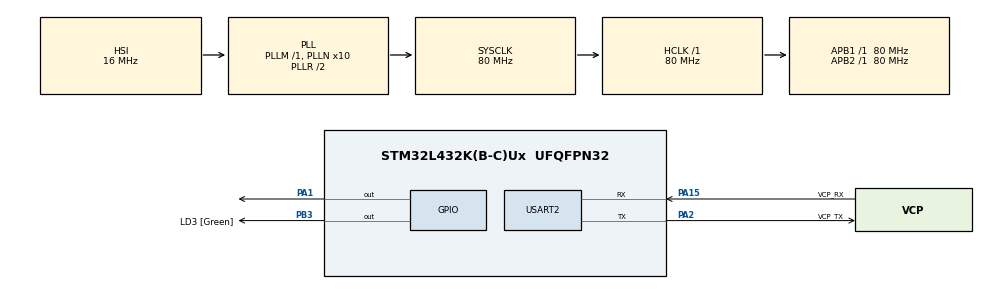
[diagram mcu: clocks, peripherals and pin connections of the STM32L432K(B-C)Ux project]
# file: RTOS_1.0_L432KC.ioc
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FREERTOS.Tasks01=defaultTask,0,128,StartDefaultTask,Default,NULL,Dynamic,NULL,NULL;Task1,0,128,Task1_init,Default,NULL,Dynamic,NULL,NULL;Task2,-1,128,Task2_init,Default,NULL,Dynamic,NULL,NULL
FREERTOS.configUSE_NEWLIB_REENTRANT=1
Mcu.Family=STM32L4
Mcu.Name=STM32L432K(B-C)Ux
Mcu.Package=UFQFPN32
NVIC.PriorityGroup=NVIC_PRIORITYGROUP_4
NVIC.TIM6_DAC_IRQn=true\:15\:0\:false\:false\:true\:false\:false\:true\:true
NVIC.TimeBase=TIM6_DAC_IRQn
NVIC.TimeBaseIP=TIM6
PA0.GPIO_Label=MCO [High speed clock in]
PA0.Signal=RCC_CK_IN
PA1.Signal=GPIO_Output
PA13\ (JTMS-SWDIO).GPIO_Label=SWDIO
PA13\ (JTMS-SWDIO).Signal=SYS_JTMS-SWDIO
PA14\ (JTCK-SWCLK).GPIO_Label=SWCLK
PA14\ (JTCK-SWCLK).Signal=SYS_JTCK-SWCLK
PA15\ (JTDI).GPIO_Label=VCP_RX
PA15\ (JTDI).Mode=Asynchronous
PA15\ (JTDI).Signal=USART2_RX
PA2.GPIO_Label=VCP_TX
PA2.Mode=Asynchronous
PA2.Signal=USART2_TX
PB3\ (JTDO-TRACESWO).GPIO_Label=LD3 [Green]
PB3\ (JTDO-TRACESWO).Signal=GPIO_Output
PC14-OSC32_IN\ (PC14).Signal=RCC_OSC32_IN
PC15-OSC32_OUT\ (PC15).Signal=RCC_OSC32_OUT
ProjectManager.HeapSize=0x200
ProjectManager.StackSize=0x400
ProjectManager.TargetToolchain=STM32CubeIDE
RCC.ADCFreq_Value=64000000
RCC.AHBFreq_Value=80000000
RCC.APB1Freq_Value=80000000
RCC.APB1TimFreq_Value=80000000
RCC.APB2Freq_Value=80000000
RCC.APB2TimFreq_Value=80000000
RCC.CortexFreq_Value=80000000
RCC.HCLKFreq_Value=80000000
RCC.HSE_VALUE=8000000
RCC.HSI16_VALUE=16000000
RCC.HSI48_VALUE=48000000
RCC.HSI_VALUE=16000000
RCC.LSE_VALUE=32768
RCC.MSI_VALUE=4000000
RCC.PLLMUL=RCC_PLLMUL_4
RCC.PLLN=10
RCC.PLLSourceVirtual=RCC_PLLSOURCE_HSI
RCC.SYSCLKFreq_VALUE=80000000
RCC.SYSCLKSource=RCC_SYSCLKSOURCE_PLLCLK
RCC.USBFreq_Value=64000000
RCC.VCOOutputFreq_Value=160000000
USART2.VirtualMode-Asynchronous=VM_ASYNC
VP_FREERTOS_VS_CMSIS_V1.Mode=CMSIS_V1
VP_SYS_VS_tim6.Mode=TIM6
board=NUCLEO-L432KC

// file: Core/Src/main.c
/* USER CODE BEGIN Header */
/**
 ******************************************************************************
 * @file           : main.c
 * @brief          : Main program body
 ******************************************************************************
 * @attention
 *
 * Copyright (c) 2024 STMicroelectronics.
 * All rights reserved.
 *
 * This software is licensed under terms that can be found in the LICENSE file
 * in the root directory of this software component.
 * If no LICENSE file comes with this software, it is provided AS-IS.
 *
 ******************************************************************************
 */
/* USER CODE END Header */
#include "main.h"
#include "cmsis_os.h"

/* USER CODE BEGIN Includes */
#include <string.h> //https://www.tutorialspoint.com/c_standard_library/string_h.htm
#include <stdio.h> //https://www.tutorialspoint.com/c_standard_library/stdio_h.htm
/* USER CODE END Includes */

/* USER CODE BEGIN PD */
#define PORTA GPIOA //port for A1
#define PORTB GPIOB //port for on-board green LED
#define LED_Red  GPIO_PIN_1 //pin A1 on board
#define LED_Green  GPIO_PIN_3 //pin for on-board green LED

/* USER CODE END PD */

UART_HandleTypeDef huart2;

osThreadId defaultTaskHandle;
osThreadId Task1Handle;
osThreadId Task2Handle;
/* USER CODE BEGIN PV */
uint32_t number = 0; // Example numeric data.  This is an unsigned integer type with exactly 32 bits. It can hold values ranging from 0 to 2^32 - 1.
/* USER CODE END PV */

void SystemClock_Config(void);
static void MX_GPIO_Init(void);
static void MX_USART2_UART_Init(void);
void StartDefaultTask(void const * argument);
void Task1_init(void const * argument);
void Task2_init(void const * argument);

/* USER CODE BEGIN 0 */
void send_Task1(void) {
//this is a user created function to transmit various data via UART2.
//For more info see: https://www.youtube.com/watch?v=muOL9SH0p9g&list=PLHKFc6z2OwJGDfYYkfi9POKa7SXEPs6Yn&index=3

	/*The standard method to transmit a text string via a UART is the following, but a NULL character is always added automatically
	 uint8_t data[] = "Hello from DEFTASK";
	 HAL_UART_Transmit(&huart2, data, sizeof(data), 500);

	 Another method to prevent the string literal from ending with a null character is by using a pointer to uint8_t instead of an array.
	 You can initialize the pointer to point to the string literal directly. Here's how you can do it:

	 In this method:

	 The uint8_t *data pointer is initialised directly to the string literal "Hello from DEFTASK\r\n".
	 strlen((const char *)data) is used to determine the length of the string, excluding the null terminator, and this length is passed to HAL_UART_Transmit.
	 This method avoids the need to explicitly specify the size of an array and ensures that only the characters of the string literal are transmitted without the null terminator.
	 */

	const uint8_t *data = (const uint8_t*) "Hello from Task1\r\n";
	HAL_UART_Transmit(&huart2, data, strlen((const char*) data), 500);

	//The following code transmits the value of the variable number via the UART
	char buffer[20]; // buffer is an array of characters to hold the string representation of the number
	sprintf(buffer, "%lu\r\n", number); // Convert number to string and stores in the array called buffer
	HAL_UART_Transmit(&huart2, (uint8_t*) buffer, strlen(buffer),
	HAL_MAX_DELAY); // Transmit the string via UART
}
/* USER CODE END 0 */

int main(void)
{

  /* USER CODE BEGIN 1 */
	/* This project is an example of using FreeRTOS and creates two tasks i.e. Default & Task2
	 * Default task flashes a red LED on pin A1, transmits data via UART2 using the function send_deftask() and also increments a variable i.e. number
	 * Task2 flashes the on-board green LED
	 */
  /* USER CODE END 1 */

  /* MCU Configuration--------------------------------------------------------*/

  /* Reset of all peripherals, Initializes the Flash interface and the Systick. */
  HAL_Init();

  /* Configure the system clock */
  SystemClock_Config();

  /* Initialize all configured peripherals */
  MX_GPIO_Init();
  MX_USART2_UART_Init();

  /* Create the thread(s) */
  /* definition and creation of defaultTask */
  osThreadDef(defaultTask, StartDefaultTask, osPriorityNormal, 0, 128);
  defaultTaskHandle = osThreadCreate(osThread(defaultTask), NULL);

  /* definition and creation of Task1 */
  osThreadDef(Task1, Task1_init, osPriorityNormal, 0, 128);
  Task1Handle = osThreadCreate(osThread(Task1), NULL);

  /* definition and creation of Task2 */
  osThreadDef(Task2, Task2_init, osPriorityBelowNormal, 0, 128);
  Task2Handle = osThreadCreate(osThread(Task2), NULL);

  /* Start scheduler */
  osKernelStart();

  /* We should never get here as control is now taken by the scheduler */

  /* Infinite loop */
	while (1) {

	}
}

void SystemClock_Config(void)
{
  RCC_OscInitTypeDef RCC_OscInitStruct = {0};
  RCC_ClkInitTypeDef RCC_ClkInitStruct = {0};

  /** Configure the main internal regulator output voltage
  */
  if (HAL_PWREx_ControlVoltageScaling(PWR_REGULATOR_VOLTAGE_SCALE1) != HAL_OK)
  {
    Error_Handler();
  }

  /** Initializes the RCC Oscillators according to the specified parameters
  * in the RCC_OscInitTypeDef structure.
  */
  RCC_OscInitStruct.OscillatorType = RCC_OSCILLATORTYPE_HSI;
  RCC_OscInitStruct.HSIState = RCC_HSI_ON;
  RCC_OscInitStruct.HSICalibrationValue = RCC_HSICALIBRATION_DEFAULT;
  RCC_OscInitStruct.PLL.PLLState = RCC_PLL_ON;
  RCC_OscInitStruct.PLL.PLLSource = RCC_PLLSOURCE_HSI;
  RCC_OscInitStruct.PLL.PLLM = 1;
  RCC_OscInitStruct.PLL.PLLN = 10;
  RCC_OscInitStruct.PLL.PLLP = RCC_PLLP_DIV7;
  RCC_OscInitStruct.PLL.PLLQ = RCC_PLLQ_DIV2;
  RCC_OscInitStruct.PLL.PLLR = RCC_PLLR_DIV2;
  if (HAL_RCC_OscConfig(&RCC_OscInitStruct) != HAL_OK)
  {
    Error_Handler();
  }

  /** Initializes the CPU, AHB and APB buses clocks
  */
  RCC_ClkInitStruct.ClockType = RCC_CLOCKTYPE_HCLK|RCC_CLOCKTYPE_SYSCLK
                              |RCC_CLOCKTYPE_PCLK1|RCC_CLOCKTYPE_PCLK2;
  RCC_ClkInitStruct.SYSCLKSource = RCC_SYSCLKSOURCE_PLLCLK;
  RCC_ClkInitStruct.AHBCLKDivider = RCC_SYSCLK_DIV1;
  RCC_ClkInitStruct.APB1CLKDivider = RCC_HCLK_DIV1;
  RCC_ClkInitStruct.APB2CLKDivider = RCC_HCLK_DIV1;

  if (HAL_RCC_ClockConfig(&RCC_ClkInitStruct, FLASH_LATENCY_4) != HAL_OK)
  {
    Error_Handler();
  }
}

static void MX_USART2_UART_Init(void)
{

  huart2.Instance = USART2;
  huart2.Init.BaudRate = 115200;
  huart2.Init.WordLength = UART_WORDLENGTH_8B;
  huart2.Init.StopBits = UART_STOPBITS_1;
  huart2.Init.Parity = UART_PARITY_NONE;
  huart2.Init.Mode = UART_MODE_TX_RX;
  huart2.Init.HwFlowCtl = UART_HWCONTROL_NONE;
  huart2.Init.OverSampling = UART_OVERSAMPLING_16;
  huart2.Init.OneBitSampling = UART_ONE_BIT_SAMPLE_DISABLE;
  huart2.AdvancedInit.AdvFeatureInit = UART_ADVFEATURE_NO_INIT;
  if (HAL_UART_Init(&huart2) != HAL_OK)
  {
    Error_Handler();
  }

}

static void MX_GPIO_Init(void)
{
  GPIO_InitTypeDef GPIO_InitStruct = {0};

  /* GPIO Ports Clock Enable */
  __HAL_RCC_GPIOC_CLK_ENABLE();
  __HAL_RCC_GPIOA_CLK_ENABLE();
  __HAL_RCC_GPIOB_CLK_ENABLE();

  /*Configure GPIO pin Output Level */
  HAL_GPIO_WritePin(GPIOA, GPIO_PIN_1, GPIO_PIN_RESET);

  /*Configure GPIO pin Output Level */
  HAL_GPIO_WritePin(LD3_GPIO_Port, LD3_Pin, GPIO_PIN_RESET);

  /*Configure GPIO pin : PA1 */
  GPIO_InitStruct.Pin = GPIO_PIN_1;
  GPIO_InitStruct.Mode = GPIO_MODE_OUTPUT_PP;
  GPIO_InitStruct.Pull = GPIO_NOPULL;
  GPIO_InitStruct.Speed = GPIO_SPEED_FREQ_LOW;
  HAL_GPIO_Init(GPIOA, &GPIO_InitStruct);

  /*Configure GPIO pin : LD3_Pin */
  GPIO_InitStruct.Pin = LD3_Pin;
  GPIO_InitStruct.Mode = GPIO_MODE_OUTPUT_PP;
  GPIO_InitStruct.Pull = GPIO_NOPULL;
  GPIO_InitStruct.Speed = GPIO_SPEED_FREQ_LOW;
  HAL_GPIO_Init(LD3_GPIO_Port, &GPIO_InitStruct);

}

void StartDefaultTask(void const * argument)
{
	for (;;) {
		osDelay(1);
	}
}

void Task1_init(void const * argument)
{
  /* USER CODE BEGIN Task1_init */
	//Transmit text and number via UART2
	/* Infinite loop */
	for (;;) {
		HAL_GPIO_TogglePin(PORTA, LED_Red); //This needs an external LED and resistor connected to pin A1 on the Nucleo L432KC module
		osDelay(1000); //better than HAL_Delay(1000) when using RTOS
		HAL_GPIO_TogglePin(PORTA, LED_Red); //This needs an external LED and resistor connected to pin A1 on the Nucleo L432KC module
		send_Task1(); //call function to transmit text and numeric data
		number++; //increment the variable i.e. number

	}
	//In case we accidentally exit from the Task2 loop
	osThreadTerminate(NULL); //When you pass NULL as an argument, it indicates the current thread, meaning the thread that calls
  /* USER CODE END Task1_init */
}

void Task2_init(void const * argument)
{
  /* USER CODE BEGIN Task2_init */
	//Flash on-board green LED
	/* Infinite loop */
	for (;;) {
		HAL_GPIO_TogglePin(PORTB, LED_Green);
		osDelay(500); //better than HAL_Delay(500)when using RTOS
		HAL_GPIO_TogglePin(PORTB, LED_Green);
		osDelay(1000); //better than HAL_Delay(1000) when using RTOS
	}
	//In case we accidentally exit from the Task2 loop
	osThreadTerminate(NULL); //When you pass NULL as an argument, it indicates the current thread, meaning the thread that calls
  /* USER CODE END Task2_init */
}

void HAL_TIM_PeriodElapsedCallback(TIM_HandleTypeDef *htim)
{
  /* USER CODE BEGIN Callback 0 */
// Timer 6 (TIM6) is one of two basic timers in the L432 MCU, the other is Timer 7 for the HAL TIMEBASE SOURCE rather than SysTick which is very busy being used for HAL_Delay() etc.
  /* USER CODE END Callback 0 */
  if (htim->Instance == TIM6)
  {
    HAL_IncTick();
  }
}

void Error_Handler(void)
{
	__disable_irq();
	while (1) {
	}
}
